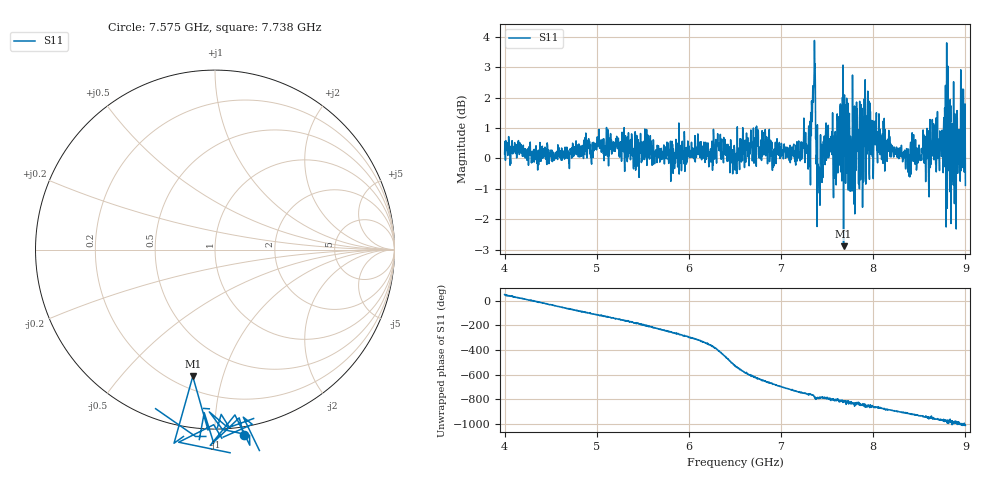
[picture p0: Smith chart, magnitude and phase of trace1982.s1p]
! Created with skrf 1.8.0 (http://scikit-rf.org).
# Hz S RI R 50.0
!freq ReS11 ImS11
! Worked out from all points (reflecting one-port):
!   1601 points, 4 GHz to 9 GHz, reference 50 ohm
!   lowest |S11| = -2.9 dB at 7.678 GHz (marker M1), VSWR 6.08, Z = 13.8 - j40.1 ohm
!   phase of S11 starts at 51 deg and turns -1063 deg over the sweep
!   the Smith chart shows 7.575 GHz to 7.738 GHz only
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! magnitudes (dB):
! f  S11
! 4 GHz  0.1
! 4.625 GHz  -0.1
! 5.25 GHz  0.0
! 5.875 GHz  0.2
! 6.316 GHz  0.5
! 6.5 GHz  -0.4
! 6.725 GHz  -0.2
! 7.125 GHz  0.1
! 7.294 GHz  -0.3
! 7.316 GHz  0.3
! 7.347 GHz  2.4
! 7.369 GHz  3.1
! 7.4 GHz  -0.6
! 7.488 GHz  1.2
! 7.591 GHz  0.4
! 7.647 GHz  -0.4
! 7.678 GHz  -2.9
! 7.75 GHz  -1.1
! 7.891 GHz  0.5
! 7.909 GHz  1.5
! 7.928 GHz  0.8
! 7.981 GHz  0.4
! 8.375 GHz  0.0
! 8.788 GHz  -0.6
! 8.9 GHz  -2.3
! 8.956 GHz  0.2
! 8.972 GHz  1.0
! 9 GHz  -0.9
